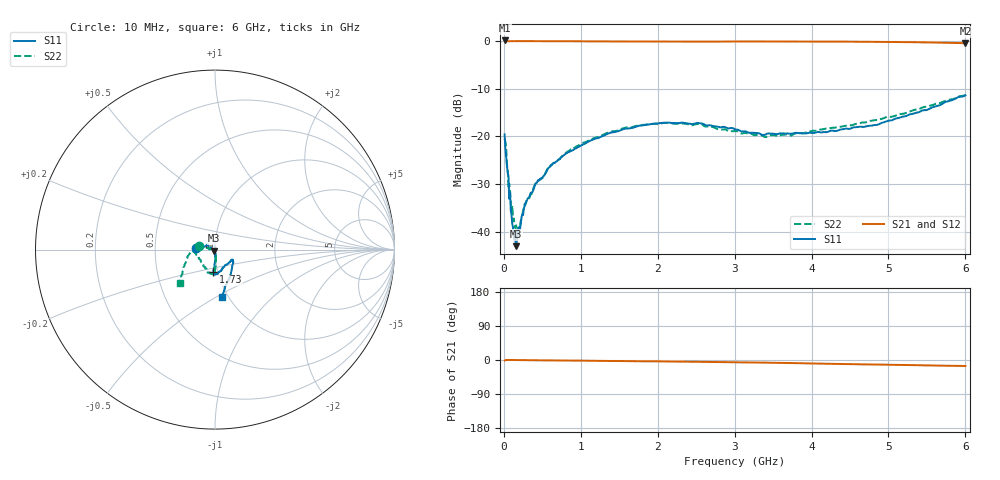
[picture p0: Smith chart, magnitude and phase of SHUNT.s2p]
#  HZ  S  DB  R  50.00
! Rohde & Schwarz ZVA24 4Ports - Version 2.90 - 1145.1110k26 SN: 100216
! Date: 2012-03-15 14:38:24
! Measurements: S11 S21 S12 S22
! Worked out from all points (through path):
!   600 points, 10 MHz to 6 GHz, reference 50 ohm
!   highest |S21| = 0.12 dB at 10 MHz (marker M1); lowest = -0.5 dB at 6 GHz (marker M2)
!   group delay of S21, straight-line fit = 7.41 ps
!   lowest |S11| = -43.1 dB at 160 MHz (marker M3), VSWR 1.01, Z = 49.6 - j0.536 ohm
!   |S11| at or under -10 dB: start of sweep to end of sweep
!   |S22| runs from -40.9 to -11.4 dB; largest |S21 - S12| = 0.024
!   S11 on the Smith chart (normalised r, x): 10 MHz: 0.81, +0.01; 1.73 GHz: 0.95, -0.24; 6 GHz: 0.94, -0.54
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1e7  -19.61 176.3  0.12 -1.5  -0.00 -0.4  -20.59 169.1
3e7  -24.35 164.5  -0.06 -0.3  -0.02 -0.0  -22.26 161.8
7e7  -33.11 162.7  -0.04 0.2  -0.04 0.0  -29.93 177.4
1e8  -36.50 168.7  -0.03 -0.0  -0.01 0.1  -35.88 173.2
1.2e8  -39.21 176.1  -0.04 -0.1  -0.02 0.0  -37.60 -171.5
1.4e8  -41.84 -139.2  -0.04 -0.1  -0.02 -0.1  -38.91 -144.9
1.6e8  -43.07 -129.7  -0.01 -0.2  -0.00 -0.1  -38.67 -135.1
2e8  -39.05 -106.0  -0.01 -0.1  -0.01 -0.3  -39.56 -128.3
2.9e8  -33.89 -90.1  -0.02 -0.4  -0.01 -0.4  -33.58 -94.6
4.3e8  -29.76 -85.7  -0.03 -0.7  -0.02 -0.7  -29.62 -85.4
6.2e8  -25.98 -86.7  -0.05 -1.2  -0.04 -1.2  -26.11 -85.0
1.01e9  -21.87 -91.5  -0.06 -1.9  -0.05 -1.8  -21.58 -86.3
1.37e9  -19.33 -93.5  -0.09 -2.5  -0.08 -2.6  -19.14 -90.0
1.73e9  -17.93 -94.1  -0.11 -3.4  -0.10 -3.3  -17.78 -92.6
2.01e9  -17.29 -92.7  -0.12 -3.6  -0.11 -3.9  -17.35 -95.7
2.55e9  -17.27 -84.6  -0.14 -4.9  -0.13 -4.9  -17.37 -107.5
3.01e9  -18.57 -72.2  -0.10 -6.0  -0.09 -6.1  -18.92 -123.6
3.4e9  -19.66 -54.1  -0.09 -6.9  -0.08 -7.3  -20.17 -144.0
4.01e9  -19.28 -31.7  -0.11 -9.1  -0.10 -9.1  -18.84 -171.1
4.83e9  -17.63 -43.3  -0.18 -11.9  -0.16 -12.1  -16.61 -169.1
5.01e9  -16.70 -50.7  -0.20 -12.5  -0.19 -12.6  -15.95 -164.2
6e9  -11.41 -81.1  -0.46 -15.9  -0.44 -15.7  -11.38 -137.0
